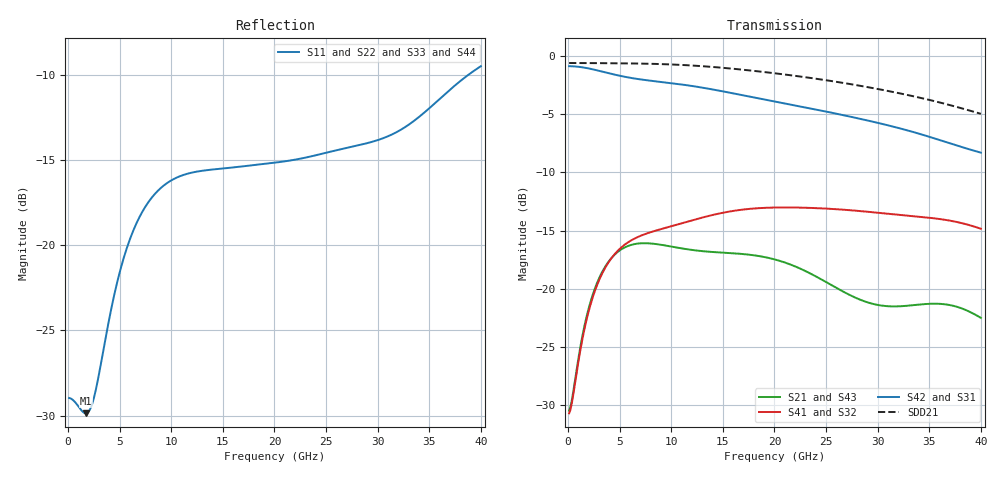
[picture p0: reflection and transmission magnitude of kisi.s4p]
! E_s8_L1L8_p1000_round_g0: pair L1→L8, pitch 1 mm, two round antipads, 0 GND vias
! stackup: 8-layer 1.6 mm FR-4 (generic)
! ports: 1 P near, 2 N near, 3 P far, 4 N far
! kisi-fdtd, conformal, dfine 0.035 mm, 752895 cells
# Hz S RI R 50
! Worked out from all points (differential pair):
!   400 points, 100 MHz to 40 GHz, reference 50 ohm
!   strongest paths, dB at 100 MHz, 10.1 GHz, 20.1 GHz, 30.1 GHz, 40 GHz:
!     S42: -0.9, -2.3, -3.9, -5.7, -8.3
!     S31: -0.9, -2.3, -3.9, -5.7, -8.3
!     S41: -30.7, -14.6, -13.0, -13.5, -14.8
!     S32: -30.7, -14.6, -13.0, -13.5, -14.8
!     S21: -30.5, -16.4, -17.5, -21.4, -22.5
!     S43: -30.5, -16.4, -17.5, -21.4, -22.5
!   taken as a pair (ports 2,1 in; 4,3 out), SDD21 dB: -0.6, -0.7, -1.5, -2.8, -5.0
!   lowest |S11| = -29.9 dB at 1.7 GHz (marker M1), VSWR 1.07, Z = 50.3 + j3.21 ohm
!   |S11| at or under -10 dB: start of sweep to 38.82 GHz
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1e8  -0.0355 0.00322  0.0297 0.00255  0.9059 -0.0372  -0.029 -0.00241
     0.0297 0.00255  -0.0355 0.00322  -0.029 -0.00241  0.9059 -0.0372
     0.9059 -0.0372  -0.029 -0.00241  -0.0355 0.00322  0.0297 0.00255
     -0.029 -0.00241  0.9059 -0.0372  0.0297 0.00255  -0.0355 0.00322
1.7e9  0.00409 0.0318  0.0702 0.0193  0.6858 -0.5697  -0.0685 -0.0172
       0.0702 0.0193  0.00409 0.0318  -0.0685 -0.0172  0.6858 -0.5697
       0.6858 -0.5697  -0.0685 -0.0172  0.00409 0.0318  0.0702 0.0193
       -0.0685 -0.0172  0.6858 -0.5697  0.0702 0.0193  0.00409 0.0318
7.8e9  -0.1282 -0.0384  -0.1122 -0.1093  -0.7813 -0.0934  0.1216 0.1241
       -0.1122 -0.1093  -0.1282 -0.0384  0.1216 0.1241  -0.7813 -0.0934
       -0.7813 -0.0934  0.1216 0.1241  -0.1282 -0.0384  -0.1122 -0.1093
       0.1216 0.1241  -0.7813 -0.0934  -0.1122 -0.1093  -0.1282 -0.0384
1.62e10  0.1691 -0.00439  0.111 0.0881  0.6864 0.0667  -0.1733 -0.13
         0.111 0.0881  0.1691 -0.00439  -0.1733 -0.13  0.6864 0.0667
         0.6864 0.0667  -0.1733 -0.13  0.1691 -0.00439  0.111 0.0881
         -0.1733 -0.13  0.6864 0.0667  0.111 0.0881  0.1691 -0.00439
2.42e10  -0.1713 -0.0669  -0.0753 -0.0825  -0.5678 -0.1524  0.1784 0.1319
         -0.0753 -0.0825  -0.1713 -0.0669  0.1784 0.1319  -0.5678 -0.1524
         -0.5678 -0.1524  0.1784 0.1319  -0.1713 -0.0669  -0.0753 -0.0825
         0.1784 0.1319  -0.5678 -0.1524  -0.0753 -0.0825  -0.1713 -0.0669
3.29e10  0.1802 0.1335  0.0753 0.0381  0.4735 0.076  -0.1895 -0.081
         0.0753 0.0381  0.1802 0.1335  -0.1895 -0.081  0.4735 0.076
         0.4735 0.076  -0.1895 -0.081  0.1802 0.1335  0.0753 0.0381
         -0.1895 -0.081  0.4735 0.076  0.0753 0.0381  0.1802 0.1335
4e10  0.00483 -0.3346  -0.0578 -0.0475  -0.2998 -0.2412  0.1313 0.1246
      -0.0578 -0.0475  0.00483 -0.3346  0.1313 0.1246  -0.2998 -0.2412
      -0.2998 -0.2412  0.1313 0.1246  0.00483 -0.3346  -0.0578 -0.0475
      0.1313 0.1246  -0.2998 -0.2412  -0.0578 -0.0475  0.00483 -0.3346
